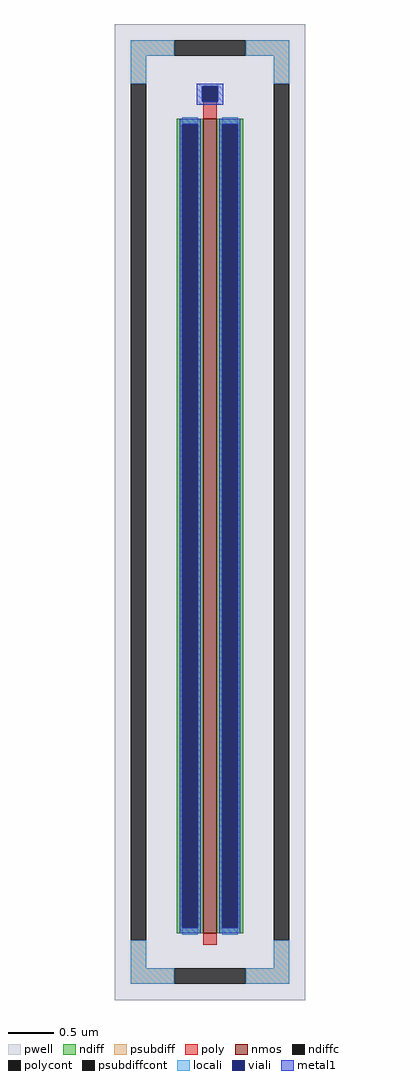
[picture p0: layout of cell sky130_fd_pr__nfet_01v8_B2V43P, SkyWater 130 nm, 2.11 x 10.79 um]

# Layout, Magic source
magic
tech sky130A
magscale 1 2
<< pwell >>
rect -211 -1079 211 1079
<< nmos >>
rect -15 -931 15 869
<< ndiff >>
rect -73 857 -15 869
rect -73 -919 -61 857
rect -27 -919 -15 857
rect -73 -931 -15 -919
rect 15 857 73 869
rect 15 -919 27 857
rect 61 -919 73 857
rect 15 -931 73 -919
<< ndiffc >>
rect -61 -919 -27 857
rect 27 -919 61 857
<< psubdiff >>
rect -175 1009 -79 1043
rect 79 1009 175 1043
rect -175 947 -141 1009
rect 141 947 175 1009
rect -175 -1009 -141 -947
rect 141 -1009 175 -947
rect -175 -1043 -79 -1009
rect 79 -1043 175 -1009
<< psubdiffcont >>
rect -79 1009 79 1043
rect -175 -947 -141 947
rect 141 -947 175 947
rect -79 -1043 79 -1009
<< poly >>
rect -15 869 15 907
rect -15 -957 15 -931
<< polycont >>
rect -17 907 17 941
<< locali >>
rect -175 1009 -79 1043
rect 79 1009 175 1043
rect -175 947 -141 1009
rect 141 947 175 1009
rect -61 857 -27 873
rect -61 -935 -27 -919
rect 27 857 61 873
rect 27 -935 61 -919
rect -175 -1009 -141 -947
rect 141 -1009 175 -947
rect -175 -1043 -79 -1009
rect 79 -1043 175 -1009
<< viali >>
rect -17 907 17 941
rect -61 -919 -27 857
rect 27 -919 61 857
<< metal1 >>
rect -29 941 29 947
rect -29 907 -17 941
rect 17 907 29 941
rect -29 901 29 907
rect -67 857 -21 869
rect -67 -919 -61 857
rect -27 -919 -21 857
rect -67 -931 -21 -919
rect 21 857 67 869
rect 21 -919 27 857
rect 61 -919 67 857
rect 21 -931 67 -919
<< properties >>
string FIXED_BBOX -158 -1026 158 1026
string gencell sky130_fd_pr__nfet_01v8
string library sky130
string parameters w 9 l 0.150 m 1 nf 1 diffcov 100 polycov 100 guard 1 glc 1 grc 1 gtc 1 gbc 1 tbcov 100 rlcov 100 topc 1 botc 0 poverlap 0 doverlap 1 lmin 0.15 wmin 0.42 compatible {sky130_fd_pr__nfet_01v8 sky130_fd_pr__nfet_01v8_lvt  sky130_fd_bs_flash__special_sonosfet_star  sky130_fd_pr__nfet_g5v0d10v5 sky130_fd_pr__nfet_05v0_nvt  sky130_fd_pr__nfet_03v3_nvt} full_metal 1 viasrc 100 viadrn 100 viagate 100 viagb 0 viagr 0 viagl 0 viagt 0
<< end >>
